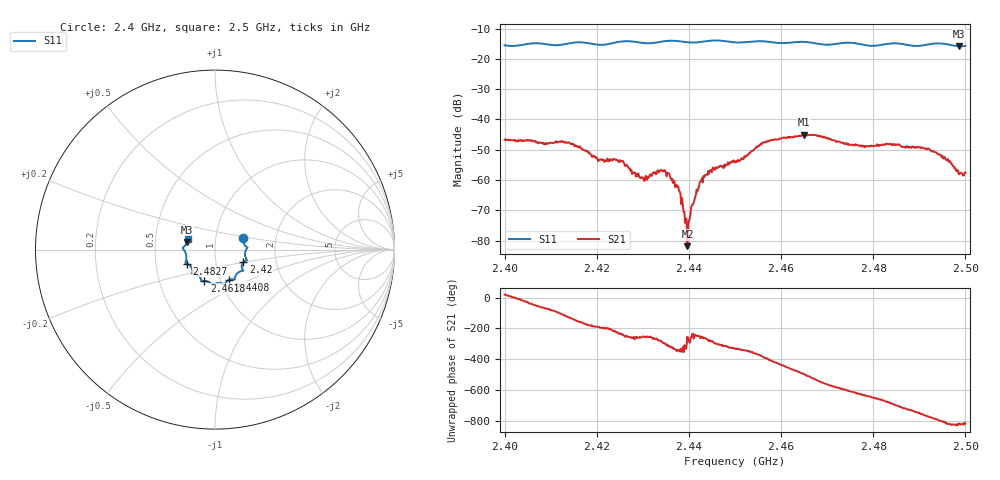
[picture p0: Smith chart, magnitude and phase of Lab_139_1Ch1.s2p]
# Hz S RI R 50
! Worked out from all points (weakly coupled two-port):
!   601 points, 2.4 GHz to 2.5 GHz, reference 50 ohm
!   highest |S21| = -45.03 dB at 2.465 GHz (marker M1); lowest = -81.9 dB at 2.4397 GHz (marker M2)
!   lowest |S11| = -15.8 dB at 2.4987 GHz (marker M3), VSWR 1.39, Z = 36.4 + j3.17 ohm
!   |S11| at or under -10 dB: start of sweep to end of sweep
!   S12 and S22 are empty: the file has one direction only
!   S11 on the Smith chart (normalised r, x): 2.4 GHz: 1.36, +0.17; 2.42 GHz: 1.36, -0.19; 2.4408 GHz: 1.10, -0.39; 2.4618 GHz: 0.84, -0.30; 2.4827 GHz: 0.72, -0.12; 2.5 GHz: 0.73, +0.09
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2.4e9  0.1561 0.0618  0.00438 0.00154  0 0  0 0
2.416667e9  0.178 -0.0595  -0.00309 -0.0012  0 0  0 0
2.42e9  0.1577 -0.0692  -0.0023 0.000404  0 0  0 0
2.4255e9  0.1564 -0.1159  -0.000995 0.00177  0 0  0 0
2.429833e9  0.1368 -0.1229  -0.000286 0.00108  0 0  0 0
2.433333e9  0.1119 -0.1519  0.000214 0.0014  0 0  0 0
2.435333e9  0.1107 -0.1647  0.000886 0.000972  0 0  0 0
2.437667e9  0.1062 -0.1659  0.000737 0.000273  0 0  0 0
2.439667e9  0.0907 -0.165  -2.24e-05 7.75e-05  0 0  0 0
2.440833e9  0.0788 -0.1689  -0.000234 0.000312  0 0  0 0
2.443667e9  0.0572 -0.187  -0.000101 0.00122  0 0  0 0
2.45e9  0.0278 -0.1859  0.00172 0.000894  0 0  0 0
2.456e9  -0.0146 -0.1952  0.00378 -0.0016  0 0  0 0
2.461833e9  -0.0602 -0.1751  -0.000782 -0.00512  0 0  0 0
2.465e9  -0.0751 -0.1755  -0.00417 -0.00375  0 0  0 0
2.466667e9  -0.0769 -0.1685  -0.00523 -0.00178  0 0  0 0
2.4755e9  -0.1268 -0.1333  -0.00115 0.00367  0 0  0 0
2.482667e9  -0.1573 -0.0778  0.0027 0.00291  0 0  0 0
2.483333e9  -0.1613 -0.0765  0.00293 0.00257  0 0  0 0
2.492e9  -0.1736 -0.00134  0.00204 -0.0026  0 0  0 0
2.498667e9  -0.1558 0.0424  -0.000135 -0.00123  0 0  0 0
2.5e9  -0.152 0.0616  -0.000158 -0.00133  0 0  0 0
